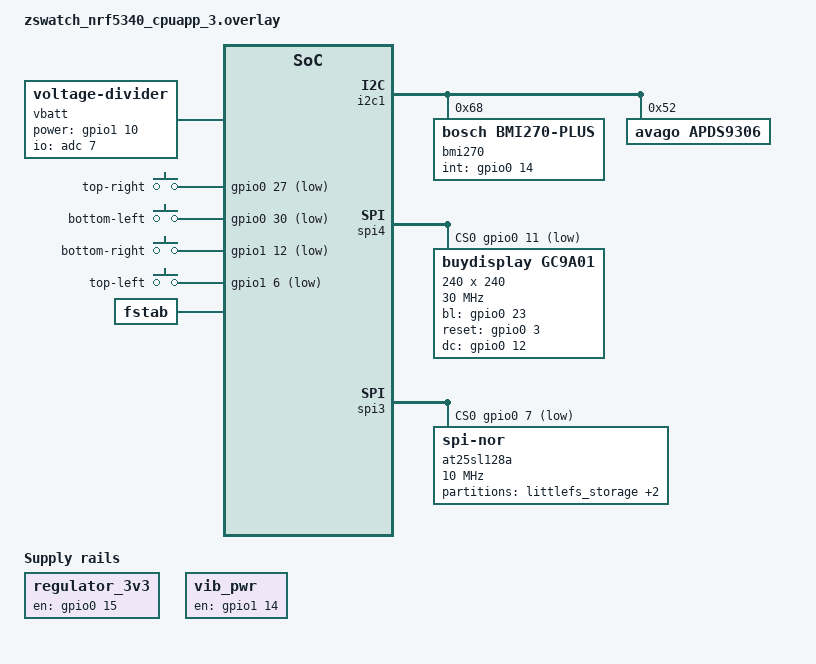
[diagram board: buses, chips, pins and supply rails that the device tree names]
&pinctrl {
	pwm0_default: pwm0_default {
		group1 {
			psels = <NRF_PSEL(PWM_OUT0, 0, 23)>;
		};
	};

	pwm0_sleep: pwm0_sleep {
		group1 {
			psels = <NRF_PSEL(PWM_OUT0, 0, 23)>;
			low-power-enable;
		};
	};

};

&uicr {
    nfct-pins-as-gpios;
};

/ {
	chosen {
		nordic,pm-ext-flash = &at25sl128a;
	};

	aliases {
		spi-flash0 = &at25sl128a;
	};

    vbatt {
        compatible = "voltage-divider";
        io-channels = <&adc 7>;
        output-ohms = <220000>;
        full-ohms = <(1500000 + 220000)>;
        power-gpios = <&gpio1 10 0>;
    };

    longpress: longpress {
        input = <&buttons>;
        compatible = "zephyr,input-longpress";
        input-codes = <INPUT_KEY_KP0>;
        short-codes = <INPUT_KEY_3>;
        long-codes = <INPUT_KEY_Y>;
        long-delay-ms = <10000>;
    };

	buttons: buttons {
        compatible = "gpio-keys";
        button1: button_1 {
            label = "top-right";
            gpios = <&gpio0 27 (GPIO_PULL_UP | GPIO_ACTIVE_LOW)>;
            zephyr,code = <INPUT_KEY_1>;
        };
        button2: button_2 {
            label = "bottom-left";
            gpios = <&gpio0 30 (GPIO_PULL_UP | GPIO_ACTIVE_LOW)>;
            zephyr,code = <INPUT_KEY_2>;
        };
        button3: button_3 {
            label = "bottom-right";
            gpios = <&gpio1 12 (GPIO_PULL_UP | GPIO_ACTIVE_LOW)>;
            zephyr,code = <INPUT_KEY_KP0>;
        };
        button4: button_4 {
            label = "top-left";
            gpios = <&gpio1 6 (GPIO_PULL_UP | GPIO_ACTIVE_LOW)>;
            zephyr,code = <INPUT_KEY_4>;
        };
    };

	regulator_3v3: regulator-3v3-ctrl {
        compatible = "regulator-fixed";
        regulator-name = "display";
        enable-gpios = <&gpio0 15 GPIO_ACTIVE_HIGH>;
        regulator-boot-on;
        startup-delay-us = <50000>;
    };

	vib_pwr: vib-pwr-ctrl {
        compatible = "regulator-fixed";
        regulator-name = "vib-pwr-ctrl";
        enable-gpios = <&gpio1 14 GPIO_ACTIVE_HIGH>;
    };
};

&uart0 {
    status = "disabled";
};

&i2c1 {
    bmi270: bmi270@68 {
        compatible = "bosch,bmi270-plus";
        reg = <0x68>;
        status = "okay";
        int-gpios = <&gpio0 14 (GPIO_PULL_DOWN | GPIO_ACTIVE_HIGH)>;
        // NOTE: The swap is performed AFTER the axis inversion. So we have to invert the y axis of the sensor
        // to get the x axis of the watch coordinate system.
        swap-xy;
        invert-y;
    };

    apds9306: apds9306@52 {
        compatible = "avago,apds9306";
        reg = <0x52>;
        status = "okay";
    };
};

&spi4  {
    status = "okay";
    compatible = "nordic,nrf-spim";
    pinctrl-0 = <&spi4_default>;
    pinctrl-1 = <&spi4_sleep>;
    pinctrl-names = "default", "sleep";
    cs-gpios = <&gpio0 11 GPIO_ACTIVE_LOW>;

    gc9a01: gc9a01@0 {
        compatible = "buydisplay,gc9a01";
        status = "okay";
        spi-max-frequency = <30000000>;
        reg = <0>;
        width = <240>;
        height = <240>;
        bl-gpios = <&gpio0 23 GPIO_ACTIVE_HIGH>;
        reset-gpios = <&gpio0 3 GPIO_ACTIVE_HIGH>;
        dc-gpios = <&gpio0 12 GPIO_ACTIVE_HIGH>;
    };
};

&spi3  {
    status = "okay";
    compatible = "nordic,nrf-spim";
    pinctrl-0 = <&spi3_default>;
    pinctrl-1 = <&spi3_sleep>;
    pinctrl-names = "default", "sleep";
    cs-gpios = <&gpio0 7 GPIO_ACTIVE_LOW>;
    at25sl128a: at25sl128a@0 {
		compatible = "jedec,spi-nor";
		reg = <0>;
		status = "okay";
		spi-max-frequency = <10000000>;
		jedec-id = [ 1f 42 18];
		size = <DT_SIZE_M(16*8)>;
		has-dpd;
        // CS High to Power-Down Mode (tDP) - 3 us
        // Rev. S Table 26. AC Electrical Characteristic
		t-enter-dpd = <3000>;
        // CS High to Standby Mode without Electronic Signature Read (tRES1) 3 us
        // Rev. S Table 26. AC Electrical Characteristic
		t-exit-dpd = <3000>;
	};
};

/ {
	fstab {
		compatible = "zephyr,fstab";
		lvgl_lfs: lvgl_lfs {
			compatible = "zephyr,fstab,littlefs";
			mount-point = "/lvgl_lfs";
			partition = <&littlefs_storage>;
			automount;
			read-size = <1024>;
			prog-size = <512>;
			cache-size = <4096>;
			lookahead-size = <4096>;
			block-cycles = <512>;
		};
	};
};

/delete-node/ &storage_partition;

&at25sl128a {
	partitions {
		compatible = "fixed-partitions";
		#address-cells = <1>;
		#size-cells = <1>;
		
		// For Nordic Partition manager to work it has to have this name.
		littlefs_storage: partition@0 {
			label = "littlefs_storage";
			reg = <0x00000000 0x00200000>;
		};
		lvgl_raw_partition: partition@200000 {
			label = "lvgl_raw_partition";
			reg = <0x00200000 0x00200000>;
		};
		storage_partition: partition@400000 {
			label = "storage_partition";
			reg = <0x400000 0x100000 >;
		};
	};
};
